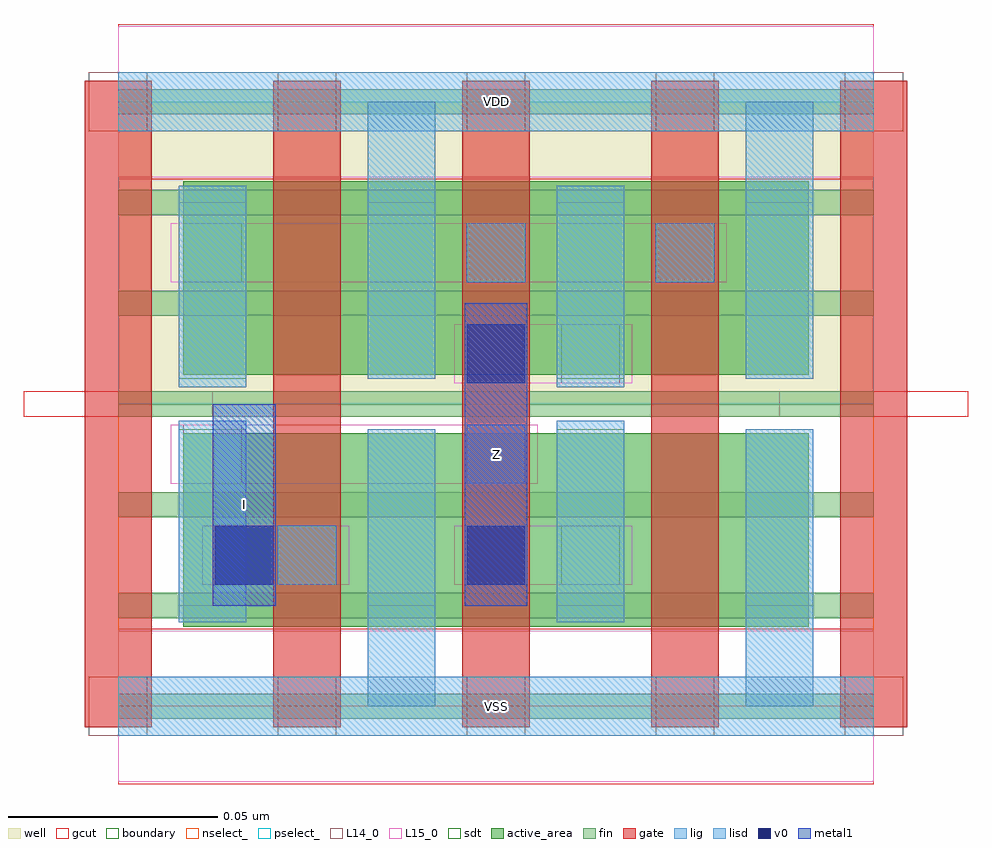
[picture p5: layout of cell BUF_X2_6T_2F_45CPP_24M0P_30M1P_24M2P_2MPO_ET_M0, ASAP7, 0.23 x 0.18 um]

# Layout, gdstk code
import gdstk
lib = gdstk.Library(unit=1e-6, precision=2.5e-10)
def R(c, l, rs):  # rectangles x0, y0, x1, y1
    for r in rs: c.add(gdstk.rectangle(r[:2], r[2:], *l))
def A(c, l, x, y, w, h, nx, ny, dx, dy):  # array of equal rectangles
    R(c, l, [(x+i*dx, y+j*dy, x+i*dx+w, y+j*dy+h) for i in range(nx) for j in range(ny)])
well = (1, 0)
fin = (2, 0)
gate = (7, 0)
gcut = (10, 0)
active_area = (11, 0)
nselect_ = (12, 0)
pselect_ = (13, 0)
L14_0 = (14, 0)
L15_0 = (15, 0)
lig = (16, 0)
lisd = (17, 0)
v0 = (18, 0)
metal1 = (19, 0)
sdt = (88, 0)
boundary = (100, 0)

buf_x2_6t_2f_45cpp_24m0p = lib.new_cell('BUF_X2_6T_2F_45CPP_24M0P_30M1P_24M2P_2MPO_ET_M0')
R(buf_x2_6t_2f_45cpp_24m0p, well, [(0,0.072,0.18,0.144)])
A(buf_x2_6t_2f_45cpp_24m0p, fin, 0, -0.003, 0.18, 0.006, 1, 7, 0, 0.024)
A(buf_x2_6t_2f_45cpp_24m0p, gate, -0.008, -0.005, 0.016, 0.154, 5, 1, 0.045, 0)
R(buf_x2_6t_2f_45cpp_24m0p, gcut, [(0,-0.0185,0.18,0.0185), (-0.0225,0.069,0.0225,0.075), (0.1575,0.069,0.2025,0.075), (0,0.1255,0.18,0.1625)])
R(buf_x2_6t_2f_45cpp_24m0p, active_area, [(0.0155,0.019,0.0745,0.065), (0.0605,0.019,0.1645,0.065), (0.0155,0.079,0.0745,0.125), (0.0605,0.079,0.1645,0.125)])
R(buf_x2_6t_2f_45cpp_24m0p, nselect_, [(0,0,0.18,0.072)])
R(buf_x2_6t_2f_45cpp_24m0p, pselect_, [(0,0.072,0.18,0.144)])
A(buf_x2_6t_2f_45cpp_24m0p, L14_0, -0.007, -0.007, 0.014, 0.014, 5, 2, 0.045, 0.144)
R(buf_x2_6t_2f_45cpp_24m0p, L14_0, [(0.038,0.029,0.052,0.043), (0.1055,0.029,0.1195,0.043), (0.0155,0.053,0.0295,0.067), (0.083,0.053,0.097,0.067), (0.1055,0.077,0.1195,0.091), (0.0155,0.101,0.0295,0.115), (0.083,0.101,0.097,0.115), (0.128,0.101,0.142,0.115)])
R(buf_x2_6t_2f_45cpp_24m0p, L15_0, [(0,-0.018,0.18,0.018), (0.02,0.029,0.055,0.043), (0.08,0.029,0.1225,0.043), (0.0125,0.053,0.1,0.067), (0.08,0.077,0.1225,0.091), (0.0125,0.101,0.145,0.115), (0,0.126,0.18,0.162)])
R(buf_x2_6t_2f_45cpp_24m0p, lig, [(0,-0.007,0.18,0.007), (0.038,0.029,0.052,0.043), (0.083,0.053,0.097,0.067), (0.083,0.101,0.097,0.115), (0.128,0.101,0.142,0.115), (0,0.137,0.18,0.151)])
R(buf_x2_6t_2f_45cpp_24m0p, lisd, [(0.0595,0,0.0755,0.066), (0.1495,0,0.1655,0.066), (0.0145,0.02,0.0305,0.068), (0.1045,0.02,0.1205,0.068), (0.0145,0.076,0.0305,0.124), (0.1045,0.076,0.1205,0.124), (0.0595,0.078,0.0755,0.144), (0.1495,0.078,0.1655,0.144)])
R(buf_x2_6t_2f_45cpp_24m0p, v0, [(0.023,0.029,0.037,0.043), (0.083,0.029,0.097,0.043), (0.083,0.077,0.097,0.091)])
R(buf_x2_6t_2f_45cpp_24m0p, metal1, [(0.0225,0.024,0.0375,0.072), (0.0825,0.024,0.0975,0.096)])
A(buf_x2_6t_2f_45cpp_24m0p, sdt, 0.0145, 0.024, 0.016, 0.042, 4, 2, 0.045, 0.054)
R(buf_x2_6t_2f_45cpp_24m0p, boundary, [(0,0,0.18,0.144)])
buf_x2_6t_2f_45cpp_24m0p.add(gdstk.Label('Z', (0.09,0.06), layer=19, texttype=251))
buf_x2_6t_2f_45cpp_24m0p.add(gdstk.Label('I', (0.03,0.048), layer=19, texttype=251))
buf_x2_6t_2f_45cpp_24m0p.add(gdstk.Label('VDD', (0.09,0.144), layer=15, texttype=251))
buf_x2_6t_2f_45cpp_24m0p.add(gdstk.Label('VSS', (0.09,0), layer=15, texttype=251))
buf_x2_6t_2f_45cpp_24m0p.add(gdstk.Label('VDD', (0.09,0.144), layer=1, texttype=251))
buf_x2_6t_2f_45cpp_24m0p.add(gdstk.Label('VSS', (0.09,0), layer=3, texttype=251))

lib.write_gds('BUF_X2_6T_2F_45CPP_24M0P_30M1P_24M2P_2MPO_ET_M0.gds')
